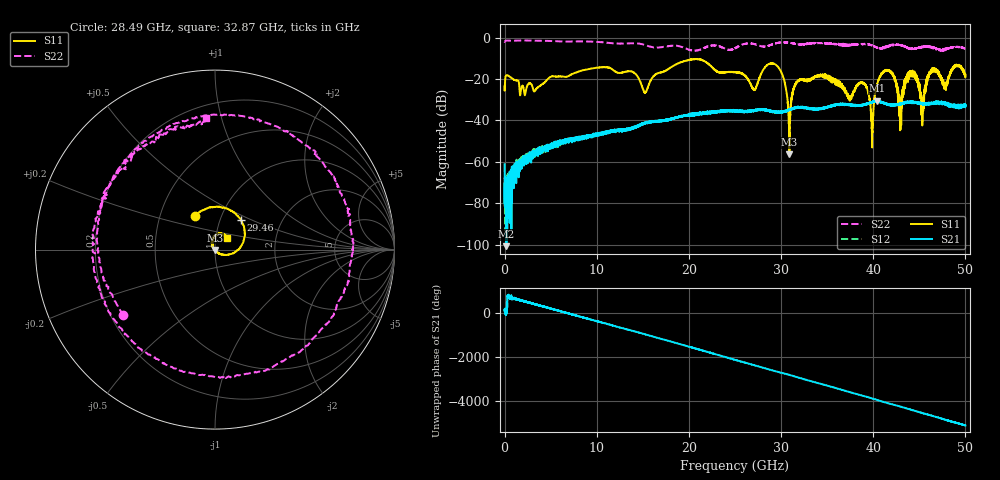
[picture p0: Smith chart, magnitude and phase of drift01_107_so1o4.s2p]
!Created with skrf (http://scikit-rf.org).
# Hz S RI R 50.0
!freq ReS11 ImS11 ReS21 ImS21 ReS12 ImS12 ReS22 ImS22
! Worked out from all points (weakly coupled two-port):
!   10001 points, 300 kHz to 50 GHz, reference 50 ohm
!   highest |S21| = -30.45 dB at 40.44 GHz (marker M1); lowest = -100.7 dB at 200.3 MHz (marker M2)
!   lowest |S11| = -56.3 dB at 30.9 GHz (marker M3), VSWR 1.00, Z = 50 - j0.152 ohm
!   |S11| at or under -10 dB: start of sweep to end of sweep
!   |S22| runs from -6.4 to -1.4 dB; largest |S21 - S12| = 0.0045
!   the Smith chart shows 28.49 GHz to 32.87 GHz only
!   S11 on the Smith chart (normalised r, x): 28.49 GHz: 0.75, +0.29; 29.46 GHz: 1.26, +0.43; 32.87 GHz: 1.14, +0.15
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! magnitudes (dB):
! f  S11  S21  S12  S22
! 300 kHz  -23.6  -61.2  -67.7  -2.0
! 200.3 MHz  -18.1  -100.7  -77.4  -1.4
! 2.89 GHz  -22.4  -56.3  -56.1  -1.4
! 8.335 GHz  -16.0  -48.7  -47.7  -1.8
! 15.24 GHz  -26.4  -41.4  -41.3  -3.6
! 16.67 GHz  -17.1  -40.1  -40.3  -4.8
! 25 GHz  -16.6  -35.5  -35.4  -5.1
! 27.1 GHz  -25.3  -35.2  -35.2  -3.1
! 28.49 GHz  -13.3  -34.8  -35.1  -4.0
! 29.46 GHz  -13.2  -35.9  -35.6  -2.7
! 30.9 GHz  -56.3  -34.8  -34.7  -2.5
! 32.87 GHz  -20.4  -34.3  -34.1  -2.7
! 33.34 GHz  -19.6  -34.4  -34.3  -2.7
! 38.91 GHz  -22.0  -32.6  -32.5  -3.0
! 39.86 GHz  -46.9  -31.2  -31.2  -3.6
! 40.44 GHz  -22.2  -30.4  -30.8  -4.9
! 41.67 GHz  -16.0  -32.5  -32.3  -4.2
! 42.92 GHz  -44.7  -32.3  -32.2  -3.7
! 44.03 GHz  -17.1  -30.6  -31.1  -5.3
! 45.32 GHz  -34.9  -31.4  -31.8  -4.5
! 46.42 GHz  -15.5  -31.5  -31.7  -4.8
! 50 GHz  -17.8  -32.4  -32.9  -5.3
